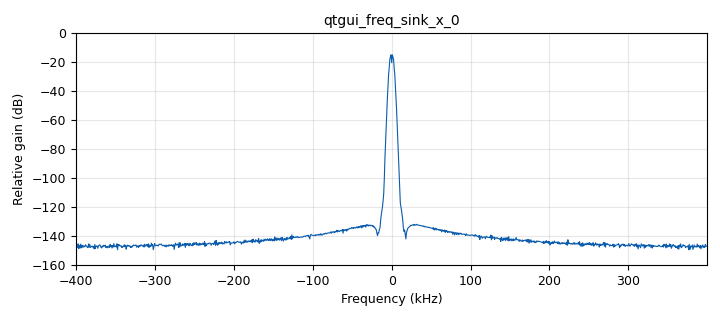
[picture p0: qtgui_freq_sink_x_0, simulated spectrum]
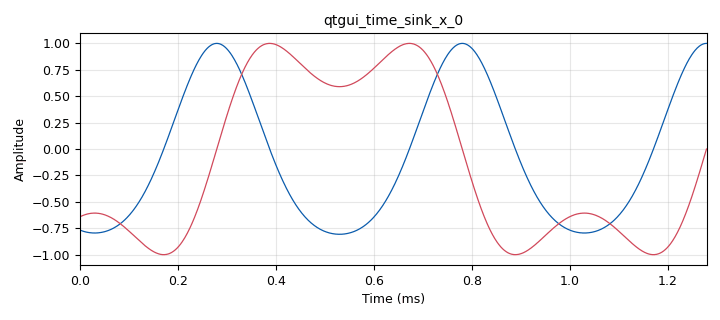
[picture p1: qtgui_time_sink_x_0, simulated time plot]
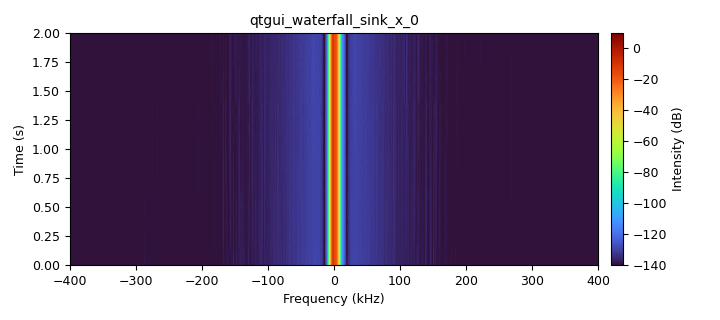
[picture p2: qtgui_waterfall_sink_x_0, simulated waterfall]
<?xml version='1.0' encoding='utf-8'?>
<?grc format='1' created='3.7.9'?>
<flow_graph>
<block>
<key>options</key>
<param><key>id</key><value>fm_sine</value></param>
<param><key>category</key><value>Custom</value></param>
<param><key>generate_options</key><value>qt_gui</value></param>
<param><key>qt_qss_theme</key><value>/opt/gr/share/gnuradio/themes/projector.qss</value></param>
</block>
<block>
<key>variable_qtgui_label</key>
<param><key>id</key><value>B_T</value></param>
<param><key>value</key><value>2*(delta_f + f_m)</value></param>
<param><key>gui_hint</key><value>3,0,1,1</value></param>
<param><key>label</key><value>Bandwidth</value></param>
<param><key>type</key><value>real</value></param>
</block>
<block>
<key>variable_qtgui_range</key>
<param><key>id</key><value>delta_f</value></param>
<param><key>value</key><value>5e3</value></param>
<param><key>gui_hint</key><value>0,0,1,1</value></param>
<param><key>label</key><value>Max Freq Dev</value></param>
<param><key>orient</key><value>Qt.Horizontal</value></param>
<param><key>start</key><value>1e3</value></param>
<param><key>step</key><value>1e3</value></param>
<param><key>stop</key><value>100e3</value></param>
</block>
<block>
<key>variable_qtgui_range</key>
<param><key>id</key><value>f_m</value></param>
<param><key>value</key><value>1e3</value></param>
<param><key>gui_hint</key><value>0,1,1,1</value></param>
<param><key>label</key><value>Highest Signal Freq.</value></param>
<param><key>orient</key><value>Qt.Horizontal</value></param>
<param><key>start</key><value>100</value></param>
<param><key>step</key><value>100</value></param>
<param><key>stop</key><value>60e3</value></param>
</block>
<block>
<key>variable</key>
<param><key>id</key><value>filt_taps</value></param>
<param><key>value</key><value>firdes.low_pass_2(1, samp_rate, B_T/2, B_T/12, 60, firdes.WIN_BLACKMAN_hARRIS)</value></param>
</block>
<block>
<key>variable</key>
<param><key>id</key><value>info_taps</value></param>
<param><key>value</key><value>firdes.low_pass_2(1, samp_rate, f_m, f_m/8, 60, firdes.WIN_BLACKMAN_hARRIS)</value></param>
</block>
<block>
<key>variable</key>
<param><key>id</key><value>samp_rate</value></param>
<param><key>value</key><value>800000</value></param>
</block>
<block>
<key>variable</key>
<param><key>id</key><value>sensitivity</value></param>
<param><key>value</key><value>2*math.pi*delta_f / samp_rate</value></param>
</block>
<block>
<key>analog_fastnoise_source_x</key>
<param><key>id</key><value>analog_fastnoise_source_x_0</value></param>
<param><key>amp</key><value>0.0</value></param>
<param><key>noise_type</key><value>analog.GR_GAUSSIAN</value></param>
<param><key>type</key><value>complex</value></param>
<param><key>seed</key><value>0</value></param>
<param><key>samples</key><value>8192</value></param>
</block>
<block>
<key>analog_frequency_modulator_fc</key>
<param><key>id</key><value>analog_frequency_modulator_fc_0</value></param>
<param><key>sensitivity</key><value>sensitivity</value></param>
</block>
<block>
<key>analog_noise_source_x</key>
<param><key>id</key><value>analog_noise_source_x_0</value></param>
<param><key>amp</key><value>1</value></param>
<param><key>_enabled</key><value>0</value></param>
<param><key>noise_type</key><value>analog.GR_GAUSSIAN</value></param>
<param><key>type</key><value>float</value></param>
<param><key>seed</key><value>0</value></param>
</block>
<block>
<key>analog_sig_source_x</key>
<param><key>id</key><value>analog_sig_source_x_0</value></param>
<param><key>amp</key><value>0.5</value></param>
<param><key>freq</key><value>f_m</value></param>
<param><key>offset</key><value>0</value></param>
<param><key>type</key><value>float</value></param>
<param><key>samp_rate</key><value>samp_rate</value></param>
<param><key>waveform</key><value>analog.GR_COS_WAVE</value></param>
</block>
<block>
<key>blocks_add_xx</key>
<param><key>id</key><value>blocks_add_xx_0</value></param>
<param><key>type</key><value>complex</value></param>
</block>
<block>
<key>blocks_throttle</key>
<param><key>id</key><value>blocks_throttle_0</value></param>
<param><key>samples_per_second</key><value>samp_rate/10</value></param>
<param><key>type</key><value>float</value></param>
</block>
<block>
<key>fft_filter_xxx</key>
<param><key>id</key><value>fft_filter_xxx_0_0</value></param>
<param><key>decim</key><value>1</value></param>
<param><key>_enabled</key><value>0</value></param>
<param><key>taps</key><value>info_taps</value></param>
<param><key>type</key><value>fff</value></param>
</block>
<block>
<key>import</key>
<param><key>id</key><value>import_math</value></param>
<param><key>import</key><value>import math</value></param>
</block>
<block>
<key>qtgui_freq_sink_x</key>
<param><key>id</key><value>qtgui_freq_sink_x_0</value></param>
<param><key>average</key><value>0.1</value></param>
<param><key>bw</key><value>samp_rate</value></param>
<param><key>fc</key><value>0</value></param>
<param><key>fftsize</key><value>1024</value></param>
<param><key>gui_hint</key><value>2,0,1,1</value></param>
<param><key>legend</key><value>False</value></param>
<param><key>width1</key><value>2</value></param>
<param><key>showports</key><value>True</value></param>
<param><key>type</key><value>complex</value></param>
<param><key>update_time</key><value>0.01</value></param>
<param><key>wintype</key><value>firdes.WIN_BLACKMAN_hARRIS</value></param>
<param><key>ymax</key><value>0</value></param>
<param><key>ymin</key><value>-160</value></param>
</block>
<block>
<key>qtgui_time_sink_x</key>
<param><key>id</key><value>qtgui_time_sink_x_0</value></param>
<param><key>gui_hint</key><value>1,0,1,2</value></param>
<param><key>legend</key><value>False</value></param>
<param><key>color1</key><value>"blue"</value></param>
<param><key>label1</key><value></value></param>
<param><key>color2</key><value>"red"</value></param>
<param><key>label2</key><value></value></param>
<param><key>size</key><value>1024</value></param>
<param><key>srate</key><value>samp_rate</value></param>
<param><key>type</key><value>complex</value></param>
<param><key>update_time</key><value>0.1</value></param>
<param><key>ymax</key><value>1.1</value></param>
<param><key>ymin</key><value>-1.1</value></param>
</block>
<block>
<key>qtgui_waterfall_sink_x</key>
<param><key>id</key><value>qtgui_waterfall_sink_x_0</value></param>
<param><key>bw</key><value>samp_rate</value></param>
<param><key>fc</key><value>0</value></param>
<param><key>fftsize</key><value>1024</value></param>
<param><key>gui_hint</key><value>2,1,1,1</value></param>
<param><key>showports</key><value>True</value></param>
<param><key>type</key><value>complex</value></param>
<param><key>update_time</key><value>0.01</value></param>
<param><key>wintype</key><value>firdes.WIN_BLACKMAN_hARRIS</value></param>
</block>
<connection><source_block_id>analog_fastnoise_source_x_0</source_block_id><sink_block_id>blocks_add_xx_0</sink_block_id><source_key>0</source_key><sink_key>1</sink_key></connection>
<connection><source_block_id>analog_frequency_modulator_fc_0</source_block_id><sink_block_id>blocks_add_xx_0</sink_block_id><source_key>0</source_key><sink_key>0</sink_key></connection>
<connection><source_block_id>analog_noise_source_x_0</source_block_id><sink_block_id>fft_filter_xxx_0_0</sink_block_id><source_key>0</source_key><sink_key>0</sink_key></connection>
<connection><source_block_id>analog_sig_source_x_0</source_block_id><sink_block_id>blocks_throttle_0</sink_block_id><source_key>0</source_key><sink_key>0</sink_key></connection>
<connection><source_block_id>blocks_add_xx_0</source_block_id><sink_block_id>qtgui_freq_sink_x_0</sink_block_id><source_key>0</source_key><sink_key>0</sink_key></connection>
<connection><source_block_id>blocks_add_xx_0</source_block_id><sink_block_id>qtgui_time_sink_x_0</sink_block_id><source_key>0</source_key><sink_key>0</sink_key></connection>
<connection><source_block_id>blocks_add_xx_0</source_block_id><sink_block_id>qtgui_waterfall_sink_x_0</sink_block_id><source_key>0</source_key><sink_key>0</sink_key></connection>
<connection><source_block_id>blocks_throttle_0</source_block_id><sink_block_id>analog_frequency_modulator_fc_0</sink_block_id><source_key>0</source_key><sink_key>0</sink_key></connection>
<connection><source_block_id>fft_filter_xxx_0_0</source_block_id><sink_block_id>blocks_throttle_0</sink_block_id><source_key>0</source_key><sink_key>0</sink_key></connection>
</flow_graph>
